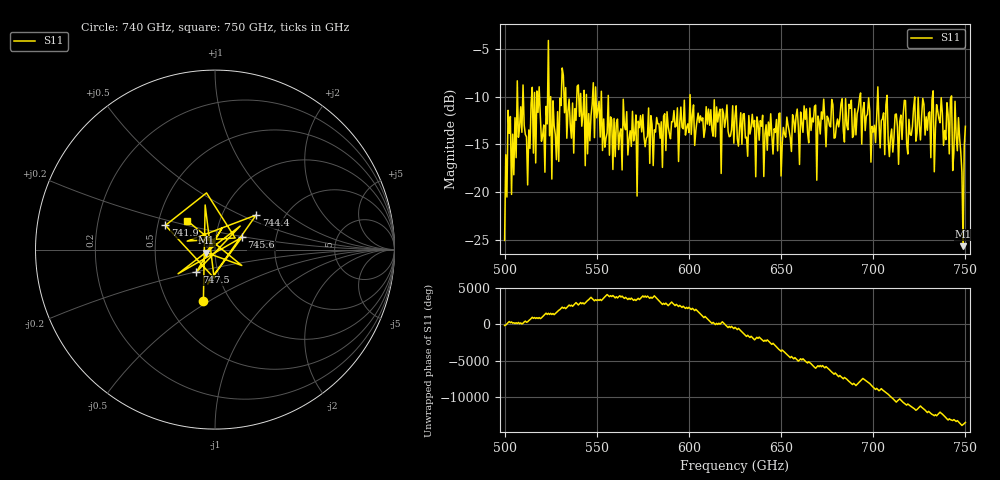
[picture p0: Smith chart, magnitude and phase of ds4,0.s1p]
!Created with skrf (http://scikit-rf.org).
# GHz S RI R 50.0
!freq ReS11 ImS11
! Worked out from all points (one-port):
!   401 points, 500 GHz to 750 GHz, reference 50 ohm
!   lowest |S11| = -25.7 dB at 748.8 GHz (marker M1), VSWR 1.11, Z = 45.3 - j1.54 ohm
!   |S11| at or under -10 dB: 556.3 GHz to 600.6 GHz (44.33 GHz wide, 7.66 % of centre); 600.7 GHz to 692.8 GHz (92.1 GHz wide, 14.2 % of centre); 707.5 GHz to 732.1 GHz (24.57 GHz wide, 3.41 % of centre) (the widest 3 of 25)
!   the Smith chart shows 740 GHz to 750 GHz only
!   S11 on the Smith chart (normalised r, x): 740 GHz: 0.75, -0.47; 741.9 GHz: 0.55, +0.16; 744.4 GHz: 1.44, +0.61; 745.6 GHz: 1.34, +0.19; 747.5 GHz: 0.79, -0.20; 750 GHz: 0.70, +0.24
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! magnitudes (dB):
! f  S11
! 500 GHz  -25.1
! 501.9 GHz  -11.4
! 505 GHz  -18.2
! 508.1 GHz  -13.2
! 512.5 GHz  -19.2
! 517.5 GHz  -9.4
! 521.2 GHz  -13.0
! 523.8 GHz  -4.1
! 526.9 GHz  -13.0
! 531.2 GHz  -7.0
! 536.9 GHz  -10.7
! 540 GHz  -8.8
! 545 GHz  -16.0
! 548.1 GHz  -8.5
! 562.5 GHz  -13.8
! 593.8 GHz  -11.2
! 625 GHz  -12.0
! 656.2 GHz  -11.9
! 687.5 GHz  -11.2
! 718.8 GHz  -16.0
! 735.6 GHz  -12.3
! 740 GHz  -10.6
! 741.9 GHz  -10.2
! 744.4 GHz  -10.5
! 745.6 GHz  -15.7
! 747.5 GHz  -15.8
! 748.8 GHz  -25.7
! 750 GHz  -13.1
